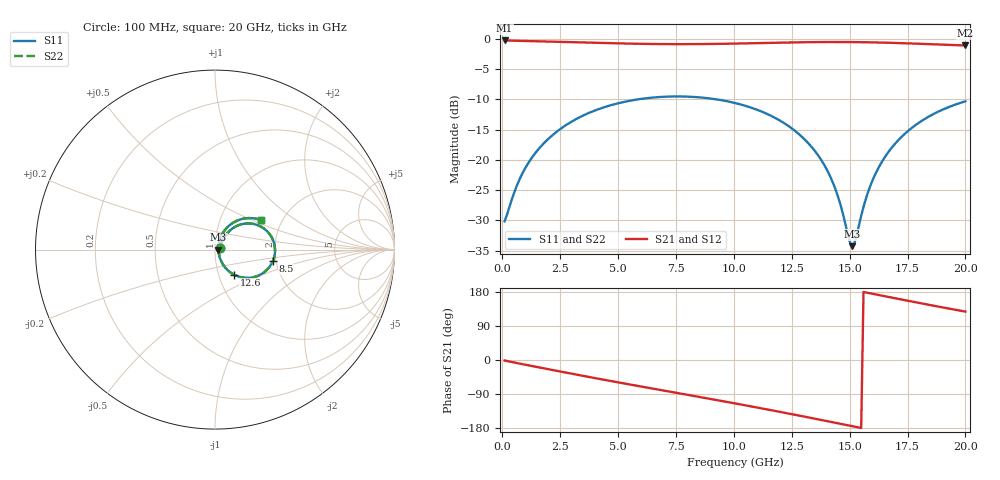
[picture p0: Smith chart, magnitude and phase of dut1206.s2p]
! Touchstone file exported from HFSS 2026.1.0
!  File:  C:/ffzhzh/LocalFiles/Ansys_Project_Files/temp_train_TSV_RDL_1206_1783319118_30076.aedt
!  Generated:  02:34:30 PM Jul  6, 2026
!  Design:  TSV_RDL
!  Project:  temp_train_TSV_RDL_1206_1783319118_30076
! Variables:
!  h_bsmrdl = 2.34um
!  h_ox = 20um
!  h_rdl = 5um
!  h_sub = 51.95um
!  h_tmrdl = 2.5um
!  h_tsv = 51.95um
!  h_via = 3um
!  l_bsmrdl = 958.62um
!  l_sub = 3794.14um
!  l_tmrdl = 107.16um
!  m_sub = 200um
!  pitch = 30.04um
!  r_tsv = 12.09um
!  s_tmrdl = 10um
!  w_bsmrdl = 17.9um
!  w_sub = 500um
!  w_tmrdl = 11.98um
!  x_tsv_center1 = 113.15um
!  x_tsv_center2 = 1089.67um
!  x_tsv_center3 = 1208.81um
!  x_tsv_center4 = 2185.33um
!  x_tsv_center5 = 2304.47um
!  x_tsv_center6 = 3280.99um
# GHz S MA R 50.000000
! Terminal data exported
! Port[1] = TM_RDL1_1_T1
! Port[2] = TM_RDL5_1_T1
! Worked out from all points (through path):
!   200 points, 100 MHz to 20 GHz, reference 50 ohm
!   highest |S21| = -0.26 dB at 100 MHz (marker M1); lowest = -1.1 dB at 20 GHz (marker M2)
!   group delay of S21, straight-line fit = 32 ps
!   lowest |S11| = -34.2 dB at 15.1 GHz (marker M3), VSWR 1.04, Z = 52 - j0.073 ohm
!   |S11| at or under -10 dB: start of sweep to 5.852 GHz; 9.261 GHz to end of sweep
!   |S22| runs from -34.2 to -9.5 dB; largest |S21 - S12| = 3.4e-14
!   S11 on the Smith chart (normalised r, x): 100 MHz: 1.06, +0.02; 8.5 GHz: 1.93, -0.27; 12.6 GHz: 1.19, -0.34; 20 GHz: 1.57, +0.57
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0.1  0.03109 15.6  0.9702 -1.3  0.9702 -1.3  0.03109 15.6
! Gamma 0 0 0 0
! Port Impedance 50 0 50 0
0.7  0.06608 50.2  0.9632 -8.9  0.9632 -8.9  0.06608 50.2
1.4  0.1123 53.3  0.956 -17.3  0.956 -17.3  0.1124 53.3
2.3  0.1681 48.7  0.9472 -28.0  0.9472 -28.0  0.1681 48.7
3.5  0.2331 38.7  0.9338 -42.0  0.9338 -42.0  0.2331 38.7
5.1  0.2967 23.3  0.9168 -60.1  0.9168 -60.1  0.2967 23.3
6.8  0.3309 6.3  0.9058 -78.8  0.9058 -78.8  0.3309 6.3
8.5  0.329 -10.9  0.9055 -97.4  0.9055 -97.4  0.3289 -10.9
10.1  0.2937 -27.4  0.9144 -115.1  0.9144 -115.1  0.2937 -27.4
11.5  0.2368 -41.8  0.9263 -131.1  0.9263 -131.1  0.2368 -41.8
12.6  0.1763 -52.7  0.9352 -144.1  0.9352 -144.1  0.1763 -52.6
13.4  0.1253 -59.4  0.9399 -153.7  0.9399 -153.7  0.1253 -59.3
13.9  0.09121 -61.9  0.9416 -159.7  0.9416 -159.7  0.0912 -61.8
14.3  0.06344 -61.1  0.9421 -164.6  0.9421 -164.6  0.06343 -61.0
15  0.02124 -21.4  0.9411 -173.2  0.9411 -173.2  0.02128 -21.3
15.1  0.0194 -2.1  0.9408 -174.4  0.9408 -174.4  0.01945 -2.0
15.2  0.02032 18.3  0.9404 -175.6  0.9404 -175.6  0.02037 18.3
15.6  0.04092 57.6  0.9383 179.5  0.9383 179.5  0.04095 57.5
15.9  0.06146 63.9  0.9362 175.8  0.9362 175.8  0.06148 63.9
16.7  0.118 63.5  0.9285 166.1  0.9285 166.1  0.118 63.4
18.1  0.2095 51.6  0.9099 149.4  0.9099 149.4  0.2095 51.6
20  0.3049 32.5  0.8818 127.7  0.8818 127.7  0.3049 32.5
